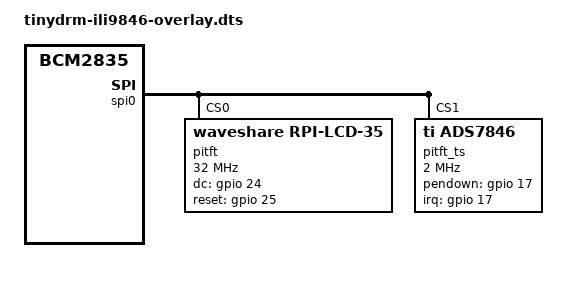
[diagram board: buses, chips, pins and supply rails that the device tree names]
/*
 * Device Tree overlay for PiTFT 3.5" resistive touch screen using ILI9846 with
 * XPT2046 / ADS7846 resistive touch controller
 *
 */

/dts-v1/;
/plugin/;

#include <dt-bindings/gpio/gpio.h>

/ {
	compatible = "brcm,bcm2835";

	fragment@0 {
		target = <&spi0>;
		__overlay__ {
			status = "okay";
		};
	};

	fragment@1 {
		target = <&spidev0>;
		__overlay__ {
			status = "disabled";
		};
	};

	fragment@2 {
		target = <&spidev1>;
		__overlay__ {
			status = "disabled";
		};
	};

	fragment@3 {
		target = <&gpio>;
		__overlay__ {
			pitft_pins: pitft_pins {
				brcm,pins = <24 25>;
				brcm,function = <0 1>; /* in out */
				brcm,pull = <2 0>; /* pullup none */
			};
		};
	};

	fragment@4 {
		target = <&spi0>;
		__overlay__ {
			/* needed to avoid dtc warning */
			#address-cells = <1>;
			#size-cells = <0>;

			pitft: pitft@0{
				compatible = "waveshare,rpi-lcd-35";
				reg = <0>;
				pinctrl-names = "default";
				pinctrl-0 = <&pitft_pins>;

				spi-max-frequency = <32000000>;
				dc-gpios = <&gpio 24 GPIO_ACTIVE_HIGH>;
				reset-gpios = <&gpio 25 GPIO_ACTIVE_HIGH>;
				rotation = <180>;
			};

			pitft_ts@1 {
				compatible = "ti,ads7846";
				reg = <1>;
				status = "okay";

				spi-max-frequency = <2000000>;
				interrupts = <17 2>; /* high-to-low edge triggered */
				interrupt-parent = <&gpio>;
				pendown-gpio = <&gpio 17 0>;
				ti,x-plate-ohms = /bits/ 16 <100>;
				ti,pressure-max = /bits/ 16 <255>;
			};
		};
	};

	__overrides__ {
		speed =   <&pitft>,"spi-max-frequency:0";
		rotate =  <&pitft>,"rotation:0"; /* drm */
	};
};
